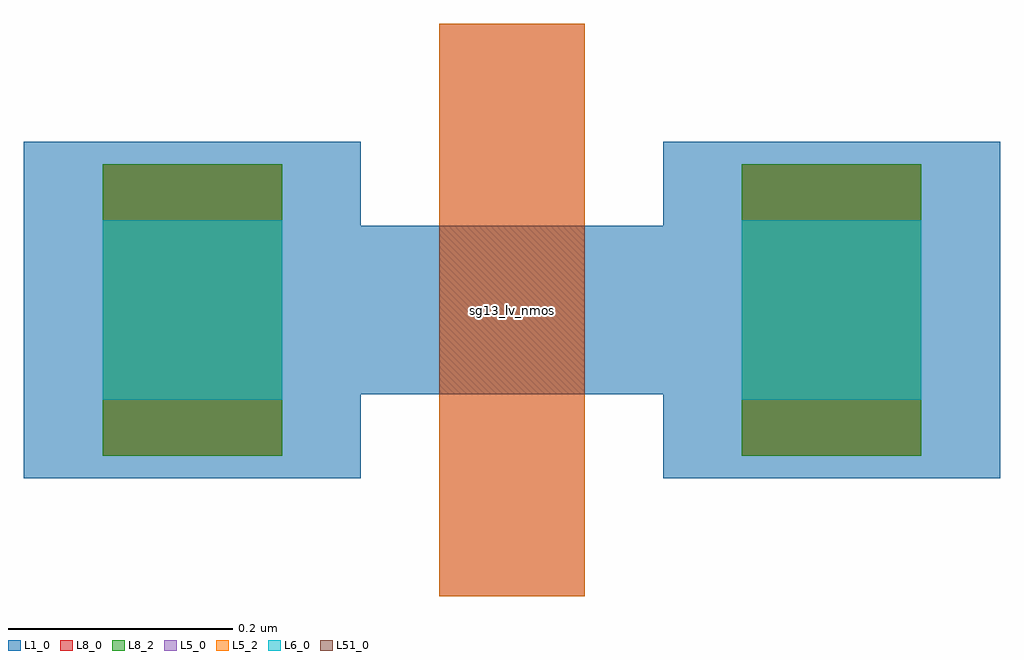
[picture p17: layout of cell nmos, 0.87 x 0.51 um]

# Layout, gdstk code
import gdstk
lib = gdstk.Library(unit=1e-6, precision=1e-09)
def R(c, l, rs):  # rectangles x0, y0, x1, y1
    for r in rs: c.add(gdstk.rectangle(r[:2], r[2:], *l))
L1_0 = (1, 0)
L5_0 = (5, 0)
L5_2 = (5, 2)
L6_0 = (6, 0)
L8_0 = (8, 0)
L8_2 = (8, 2)
L51_0 = (51, 0)

nmos = lib.new_cell('nmos')
R(nmos, L1_0, [(0,0,0.3,0.3), (0,0,0.3,0.3), (0.57,0,0.87,0.3), (0.57,0,0.87,0.3), (0,0.075,0.87,0.225), (0,0.075,0.87,0.225)])
R(nmos, L5_0, [(0.37,-0.105,0.5,0.405), (0.37,-0.105,0.5,0.405)])
R(nmos, L5_2, [(0.37,-0.105,0.5,0.405), (0.37,-0.105,0.5,0.405)])
R(nmos, L6_0, [(0.07,0.07,0.23,0.23), (0.07,0.07,0.23,0.23), (0.64,0.07,0.8,0.23), (0.64,0.07,0.8,0.23)])
R(nmos, L8_0, [(0.07,0.02,0.23,0.28), (0.07,0.02,0.23,0.28), (0.64,0.02,0.8,0.28), (0.64,0.02,0.8,0.28)])
R(nmos, L8_2, [(0.07,0.02,0.23,0.28), (0.07,0.02,0.23,0.28), (0.64,0.02,0.8,0.28), (0.64,0.02,0.8,0.28)])
R(nmos, L51_0, [(0.37,0.075,0.5,0.225), (0.37,0.075,0.5,0.225)])
nmos.add(gdstk.Label('sg13_lv_nmos', (0.435,0.15), layer=51, texttype=0))
nmos.add(gdstk.Label('sg13_lv_nmos', (0.435,0.15), layer=51, texttype=0))

lib.write_gds('nmos.gds')
